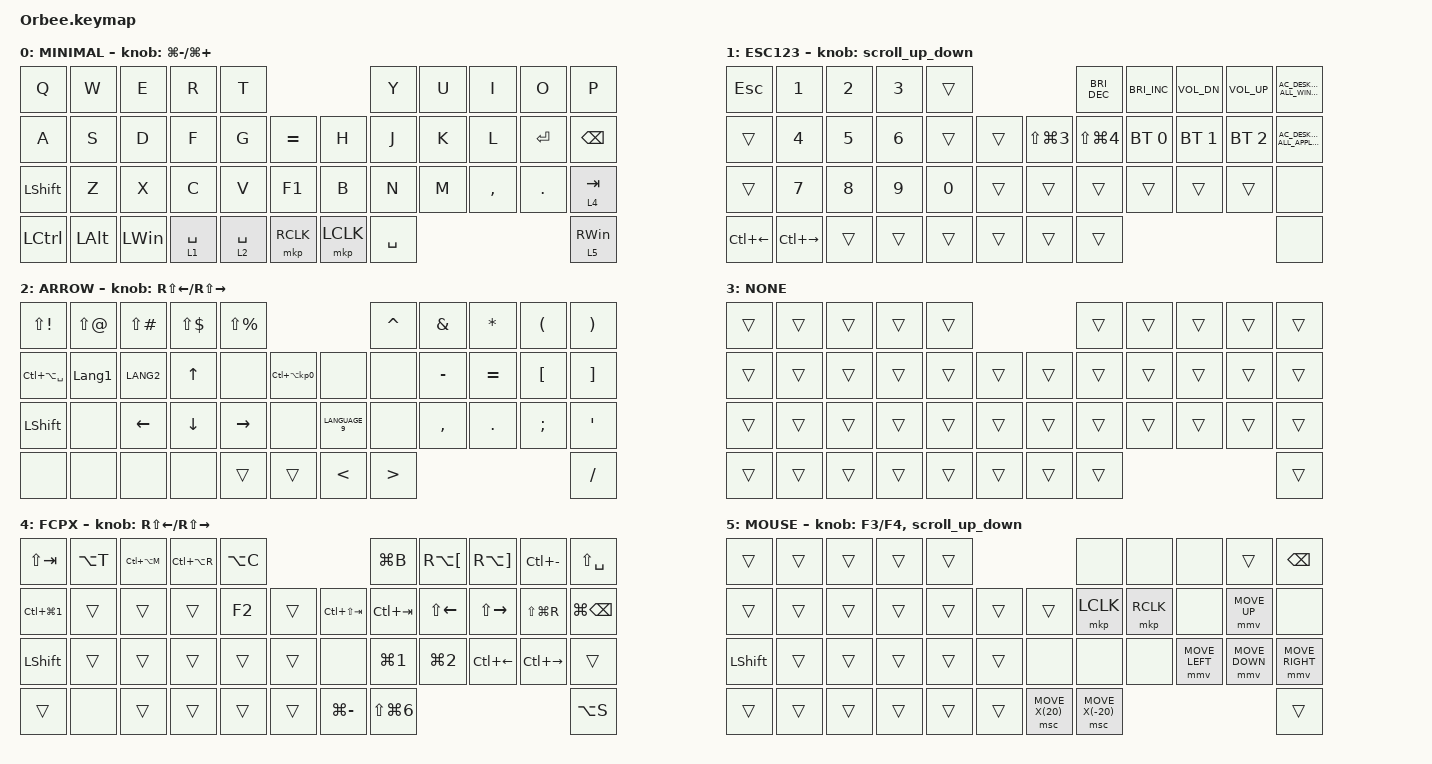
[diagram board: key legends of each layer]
#include <behaviors.dtsi>
#include <dt-bindings/zmk/bt.h>
#include <dt-bindings/zmk/keys.h>
#include <dt-bindings/zmk/pointing.h>

#define ZMK_POINTING_DEFAULT_SCRL_VAL 100
#define MOUSE 6

&mt {
    flavor = "balanced";
    quick-tap-ms = <0>;
};

/ {
    combos { compatible = "zmk,combos"; };

    macros {
        to_layer_0: to_layer_0 {
            compatible = "zmk,behavior-macro-one-param";
            #binding-cells = <1>;
            bindings = <&to 0 &macro_param_1to1 &kp MACRO_PLACEHOLDER>;
            label = "TO_LAYER_0";
        };
    };

    behaviors {
        touch_behavior_1: touch1 {
            compatible = "zmk,behavior-momentary";
            label = "TouchKey1";
            bindings = <&kp A>;
        };

        touch_behavior_2: touch2 {
            compatible = "zmk,behavior-momentary";
            label = "TouchKey2";
            bindings = <&kp B>;
        };

        touch_behavior_3: touch3 {
            compatible = "zmk,behavior-momentary";
            label = "TouchKey3";
            bindings = <&mo 1>;
        };

        lt_to_layer_0: lt_to_layer_0 {
            compatible = "zmk,behavior-hold-tap";
            label = "LAYER_TAP_TO_0";
            bindings = <&mo>, <&to_layer_0>;

            #binding-cells = <2>;
            tapping-term-ms = <200>;
        };

        scroll_up_down: behavior_sensor_rotate_mouse_wheel_up_down {
            compatible = "zmk,behavior-sensor-rotate";
            #sensor-binding-cells = <0>;
            bindings = <&msc SCRL_UP>, <&msc SCRL_DOWN>;

            tap-ms = <20>;
        };
    };

    keymap {
        compatible = "zmk,keymap";

        MINIMAL {
            bindings = <
&kp Q      &kp W         &kp E         &kp R        &kp T                                &kp Y      &kp U  &kp I      &kp O      &kp P
&kp A      &kp S         &kp D         &kp F        &kp G        &kp EQUAL    &kp H      &kp J      &kp K  &kp L      &kp ENTER  &kp BSPC
&kp LSHFT  &kp Z         &kp X         &kp C        &kp V        &kp F1       &kp B      &kp N      &kp M  &kp COMMA  &kp DOT    &lt 4 TAB
&kp LCTRL  &kp LEFT_ALT  &kp LEFT_WIN  &lt 1 SPACE  &lt 2 SPACE  &mkp RCLK    &mkp LCLK  &kp SPACE                               &lt 5 RIGHT_WIN
            >;

            sensor-bindings = <&inc_dec_kp LG(MINUS) LG(PLUS)>;
            label = "MINIMAL";
        };

        ESC123 {
            bindings = <
&kp ESC             &kp NUMBER_1         &kp NUMBER_2  &kp NUMBER_3  &trans                                        &kp C_BRIGHTNESS_DEC  &kp C_BRIGHTNESS_INC  &kp C_VOL_DN  &kp C_VOLUME_UP  &kp C_AC_DESKTOP_SHOW_ALL_WINDOWS
&trans              &kp NUMBER_4         &kp NUMBER_5  &kp NUMBER_6  &trans        &trans    &kp LS(LG(NUMBER_3))  &kp LS(LG(NUMBER_4))  &bt BT_SEL 0          &bt BT_SEL 1  &bt BT_SEL 2     &kp C_AC_DESKTOP_SHOW_ALL_APPLICATIONS
&trans              &kp NUMBER_7         &kp NUMBER_8  &kp NUMBER_9  &kp NUMBER_0  &trans    &trans                &trans                &trans                &trans        &trans           &none
&kp LC(LEFT_ARROW)  &kp LC(RIGHT_ARROW)  &trans        &trans        &trans        &trans    &trans                &trans                                                                     &none
            >;

            sensor-bindings = <&scroll_up_down>;
        };

        ARROW {
            bindings = <
&kp LS(EXCL)       &kp LS(AT)      &kp LS(POUND)   &kp LS(DLLR)    &kp LS(PRCNT)                                               &kp CARET         &kp AMPERSAND  &kp ASTERISK  &kp LEFT_PARENTHESIS  &kp RIGHT_PARENTHESIS
&kp LC(LA(SPACE))  &kp LANGUAGE_1  &kp LANG2       &kp UP_ARROW    &none            &kp LC(LA(KP_NUMBER_0))    &none           &none             &kp MINUS      &kp EQUAL     &kp LBKT              &kp RBKT
&kp LSHFT          &none           &kp LEFT_ARROW  &kp DOWN_ARROW  &kp RIGHT_ARROW  &none                      &kp LANGUAGE_9  &none             &kp COMMA      &kp DOT       &kp SEMI              &kp APOS
&none              &none           &none           &none           &trans           &trans                     &kp LESS_THAN   &kp GREATER_THAN                                                     &kp SLASH
            >;

            sensor-bindings = <&inc_dec_kp RS(LEFT_ARROW) RS(RIGHT_ARROW)>;
        };

        NONE {
            bindings = <
&trans  &trans  &trans  &trans  &trans                    &trans  &trans  &trans  &trans  &trans
&trans  &trans  &trans  &trans  &trans  &trans    &trans  &trans  &trans  &trans  &trans  &trans
&trans  &trans  &trans  &trans  &trans  &trans    &trans  &trans  &trans  &trans  &trans  &trans
&trans  &trans  &trans  &trans  &trans  &trans    &trans  &trans                          &trans
            >;
        };

        FCPX {
            bindings = <
&kp LS(TAB)           &kp LA(T)  &kp LC(LA(M))  &kp LC(LA(R))  &kp LA(C)                             &kp LG(B)             &kp RA(LEFT_BRACKET)  &kp RA(RIGHT_BRACKET)  &kp LC(MINUS)        &kp LS(SPACE)
&kp LC(LG(NUMBER_1))  &trans     &trans         &trans         &kp F2     &trans    &kp LC(LS(TAB))  &kp LC(TAB)           &kp LS(LEFT_ARROW)    &kp LS(RIGHT_ARROW)    &kp LS(LG(R))        &kp LG(BACKSPACE)
&kp LSHFT             &trans     &trans         &trans         &trans     &trans    &none            &kp LG(NUMBER_1)      &kp LG(NUMBER_2)      &kp LC(LEFT_ARROW)     &kp LC(RIGHT_ARROW)  &trans
&trans                &none      &trans         &trans         &trans     &trans    &kp LG(MINUS)    &kp LS(LG(NUMBER_6))                                                                    &kp LA(S)
            >;

            sensor-bindings = <&inc_dec_kp RS(LEFT_ARROW) RS(RIGHT_ARROW)>;
        };

        MOUSE {
            bindings = <
&trans          &trans  &trans  &trans  &trans                             &none             &none      &none           &trans          &kp BACKSPACE
&trans          &trans  &trans  &trans  &trans  &trans    &trans           &mkp LCLK         &mkp RCLK  &none           &mmv MOVE_UP    &none
&kp LEFT_SHIFT  &trans  &trans  &trans  &trans  &trans    &none            &none             &none      &mmv MOVE_LEFT  &mmv MOVE_DOWN  &mmv MOVE_RIGHT
&trans          &trans  &trans  &trans  &trans  &trans    &msc MOVE_X(20)  &msc MOVE_X(-20)                                             &trans
            >;

            sensor-bindings = <&inc_dec_kp F3 F4>, <&scroll_up_down>;
        };
    };
};
